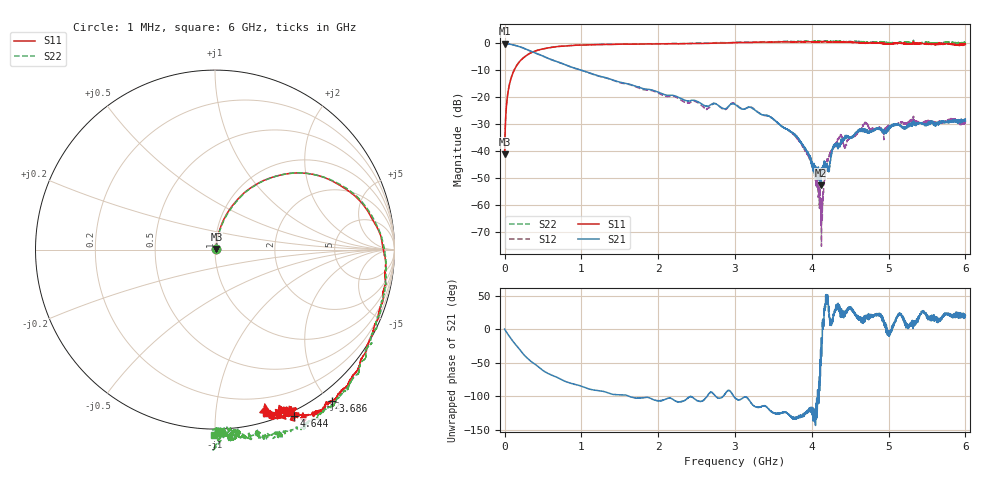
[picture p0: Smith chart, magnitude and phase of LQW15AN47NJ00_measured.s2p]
# GHZ S RI R 50.000000000000
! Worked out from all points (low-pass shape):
!   4501 points, 1 MHz to 6 GHz, reference 50 ohm
!   highest |S21| = -0.07 dB at 2.333 MHz (marker M1); lowest = -52.7 dB at 4.114 GHz (marker M2)
!   |S21| within 3 dB of the highest: start of sweep to 355.3 MHz
!   lowest |S11| = -41.2 dB at 1 MHz (marker M3), VSWR 1.02, Z = 50.8 + j0.374 ohm
!   |S11| at or under -10 dB: start of sweep to 124.3 MHz
!   |S22| runs from -41.0 to 1.1 dB; largest |S21 - S12| = 0.02
!   S11 on the Smith chart (normalised r, x): 1 MHz: 1.02, +0.01; 3.686 GHz: -0.17, -2.03; 4.644 GHz: -0.04, -1.58; 6 GHz: 0.07, -1.35
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0.001  0.00789 0.00368  0.9904 0.000102  0.988 0.0015  0.0082 0.00362
0.002333111  0.00792 0.00608  0.9914 -0.00488  0.9913 -0.00509  0.0082 0.00629
0.036994  0.0227 0.0997  0.9769 -0.1103  0.9765 -0.1093  0.0248 0.0991
0.06232311  0.0466 0.1622  0.9543 -0.1808  0.9539 -0.1796  0.0495 0.1616
0.1956342  0.2592 0.3793  0.7531 -0.4362  0.7523 -0.436  0.2624 0.379
0.5422431  0.7429 0.3273  0.2352 -0.4936  0.2407 -0.4905  0.7423 0.335
1.002166  0.9312 0.0419  0.0282 -0.317  0.031 -0.3162  0.9345 0.0462
2.002  0.9207 -0.3288  -0.0354 -0.1191  -0.0309 -0.1152  0.9137 -0.366
2.624563  0.8524 -0.5236  -0.0138 -0.0664  -0.00721 -0.0616  0.8482 -0.5463
3.0005  0.8042 -0.6583  -0.0154 -0.0722  -0.0116 -0.075  0.803 -0.6672
3.685719  0.6536 -0.8433  -0.0146 -0.0205  -0.0146 -0.0202  0.6505 -0.8754
4.001666  0.565 -0.8947  -0.00384 -0.00498  -0.00328 -0.00463  0.5345 -0.9491
4.113648  0.5563 -0.9157  0.00123 -0.00198  -0.00104 -0.000854  0.4972 -0.9742
4.144309  0.5707 -0.9111  0.00533 -3.53e-05  0.00112 6.86e-05  0.4929 -0.9805
4.202966  0.5843 -0.8959  0.00341 0.00309  0.00629 0.000557  0.4915 -0.9971
4.254958  0.5317 -0.9172  0.00808 0.0017  0.00936 0.00445  0.4432 -0.9977
4.360273  0.4979 -0.9548  0.0103 0.00733  0.0165 0.00757  0.3583 -1.014
4.433594  0.4926 -0.938  0.017 0.00803  0.0116 0.00204  0.3444 -1.021
4.644226  0.4412 -0.925  0.0241 0.0051  0.0162 0.0202  0.255 -1.044
5.0015  0.3854 -0.9055  0.0254 -0.00449  0.0274 0.000766  0.1117 -1.029
5.308115  0.4136 -0.8731  0.029 0.00473  0.0373 0.00469  0.0658 -0.989
6  0.2819 -0.9112  0.0336 0.0124  0.0292 0.0138  -0.00524 -1.034
